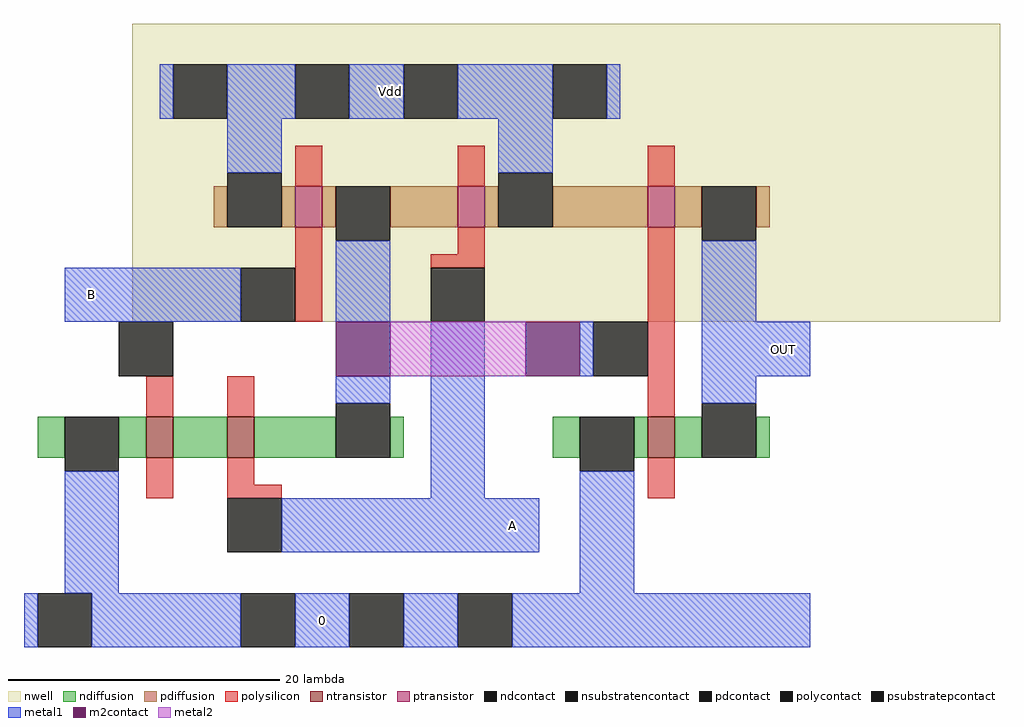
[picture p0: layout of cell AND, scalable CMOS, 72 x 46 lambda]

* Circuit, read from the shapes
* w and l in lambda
.subckt AND 0 A B OUT Vdd
M1 n1 B 0 0 nfet w=3 l=2
M2 n2 A n1 0 nfet w=3 l=2
M3 OUT n2 0 0 nfet w=3 l=2
M4 n2 B Vdd Vdd pfet w=3 l=2
M5 Vdd A n2 Vdd pfet w=3 l=2
M6 OUT n2 Vdd Vdd pfet w=3 l=2
.ends

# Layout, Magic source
magic
tech scmos
<< nwell >>
rect -16 18 48 40
<< ntransistor >>
rect -15 8 -13 11
rect -9 8 -7 11
rect 22 8 24 11
<< ptransistor >>
rect -4 25 -2 28
rect 8 25 10 28
rect 22 25 24 28
<< ndiffusion >>
rect -23 8 -21 11
rect -17 8 -15 11
rect -13 8 -9 11
rect -7 8 -1 11
rect 3 8 4 11
rect 15 8 17 11
rect 21 8 22 11
rect 24 8 26 11
rect 30 8 31 11
<< pdiffusion >>
rect -10 25 -9 28
rect -5 25 -4 28
rect -2 25 -1 28
rect 3 25 8 28
rect 10 25 11 28
rect 15 25 22 28
rect 24 25 26 28
rect 30 25 31 28
<< ndcontact >>
rect -21 7 -17 11
rect -1 8 3 12
rect 17 7 21 11
rect 26 8 30 12
<< pdcontact >>
rect -9 25 -5 29
rect -1 24 3 28
rect 11 25 15 29
rect 26 24 30 28
<< psubstratepcontact >>
rect -23 -6 -19 -2
rect -8 -6 -4 -2
rect 0 -6 4 -2
rect 8 -6 12 -2
<< nsubstratencontact >>
rect -13 33 -9 37
rect -4 33 0 37
rect 4 33 8 37
rect 15 33 19 37
<< polysilicon >>
rect -4 28 -2 31
rect 8 28 10 31
rect -4 18 -2 25
rect 22 28 24 31
rect 8 23 10 25
rect 6 22 10 23
rect -15 11 -13 14
rect -9 11 -7 14
rect 22 11 24 25
rect -15 5 -13 8
rect -9 6 -7 8
rect -9 5 -5 6
rect 22 5 24 8
<< polycontact >>
rect -8 18 -4 22
rect 6 18 10 22
rect -17 14 -13 18
rect 18 14 22 18
rect -9 1 -5 5
<< metal1 >>
rect -14 33 -13 37
rect -9 33 -4 37
rect 0 33 4 37
rect 8 33 15 37
rect 19 33 20 37
rect -9 29 -5 33
rect 11 29 15 33
rect -21 18 -8 22
rect -1 18 3 24
rect -1 12 3 14
rect 26 18 30 24
rect -21 -2 -17 7
rect 6 5 10 18
rect 17 14 18 18
rect 26 14 34 18
rect 26 12 30 14
rect -5 1 14 5
rect 17 -2 21 7
rect -24 -6 -23 -2
rect -19 -6 -8 -2
rect -4 -6 0 -2
rect 4 -6 8 -2
rect 12 -6 34 -2
<< m2contact >>
rect -1 14 3 18
rect 13 14 17 18
<< metal2 >>
rect 3 14 13 18
<< labels >>
rlabel metal1 3 35 3 35 5 Vdd
rlabel metal1 -2 -4 -2 -4 1 0
rlabel metal1 12 3 12 3 1 A
rlabel metal1 -19 20 -19 20 3 B
rlabel metal1 32 16 32 16 1 OUT
<< end >>
